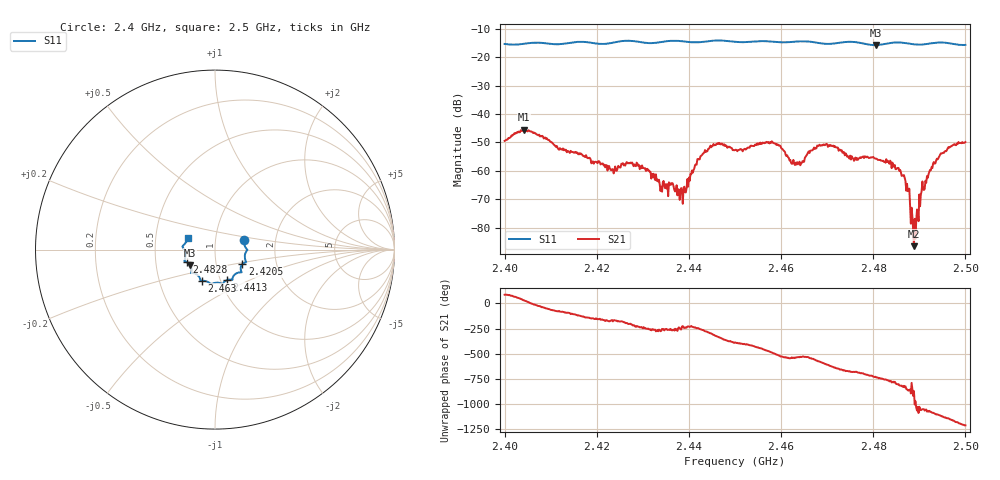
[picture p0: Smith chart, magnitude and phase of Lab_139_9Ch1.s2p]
# Hz S RI R
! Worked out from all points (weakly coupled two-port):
!   601 points, 2.4 GHz to 2.5 GHz, reference 50 ohm
!   highest |S21| = -45.52 dB at 2.4042 GHz (marker M1); lowest = -86.6 dB at 2.4888 GHz (marker M2)
!   lowest |S11| = -15.7 dB at 2.4805 GHz (marker M3), VSWR 1.39, Z = 37.3 - j6.68 ohm
!   |S11| at or under -10 dB: start of sweep to end of sweep
!   S12 and S22 are empty: the file has one direction only
!   S11 on the Smith chart (normalised r, x): 2.4 GHz: 1.38, +0.15; 2.4205 GHz: 1.34, -0.22; 2.4413 GHz: 1.08, -0.38; 2.463 GHz: 0.82, -0.29; 2.4828 GHz: 0.72, -0.10; 2.5 GHz: 0.73, +0.10
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2.4e9  0.1631 0.0525  0.000221 0.00335  0 0  0 0
2.404167e9  0.1722 0.00859  0.00445 0.00287  0 0  0 0
2.416667e9  0.1735 -0.0697  -0.00116 -0.00159  0 0  0 0
2.4205e9  0.1521 -0.0809  -0.00136 -0.000573  0 0  0 0
2.428667e9  0.1407 -0.1266  -0.000994 0.000971  0 0  0 0
2.433333e9  0.1002 -0.1514  6.55e-05 0.000644  0 0  0 0
2.439e9  0.0891 -0.1672  -0.00023 0.00047  0 0  0 0
2.441333e9  0.0676 -0.1697  -0.000692 0.00106  0 0  0 0
2.445833e9  0.0419 -0.1925  0.00222 0.00175  0 0  0 0
2.45e9  0.0247 -0.1855  0.00207 -0.00105  0 0  0 0
2.458167e9  -0.0318 -0.1851  -0.00203 -0.00236  0 0  0 0
2.463e9  -0.0721 -0.1735  -0.00126 4.45e-05  0 0  0 0
2.466667e9  -0.0816 -0.1674  -0.00226 0.000323  0 0  0 0
2.4695e9  -0.0938 -0.1448  -0.00143 0.00243  0 0  0 0
2.4805e9  -0.1384 -0.0871  0.00162 -0.000211  0 0  0 0
2.482833e9  -0.1586 -0.0701  0.00129 -0.000951  0 0  0 0
2.483333e9  -0.1625 -0.0683  0.00102 -0.00101  0 0  0 0
2.4865e9  -0.1697 -0.0592  -0.00025 -0.000787  0 0  0 0
2.488833e9  -0.1645 -0.0378  -4.06e-05 -2.36e-05  0 0  0 0
2.490833e9  -0.1675 -0.0117  0.000413 0.00024  0 0  0 0
2.4935e9  -0.1796 0.0126  0.0013 -0.000392  0 0  0 0
2.5e9  -0.152 0.064  -0.00204 -0.00247  0 0  0 0
